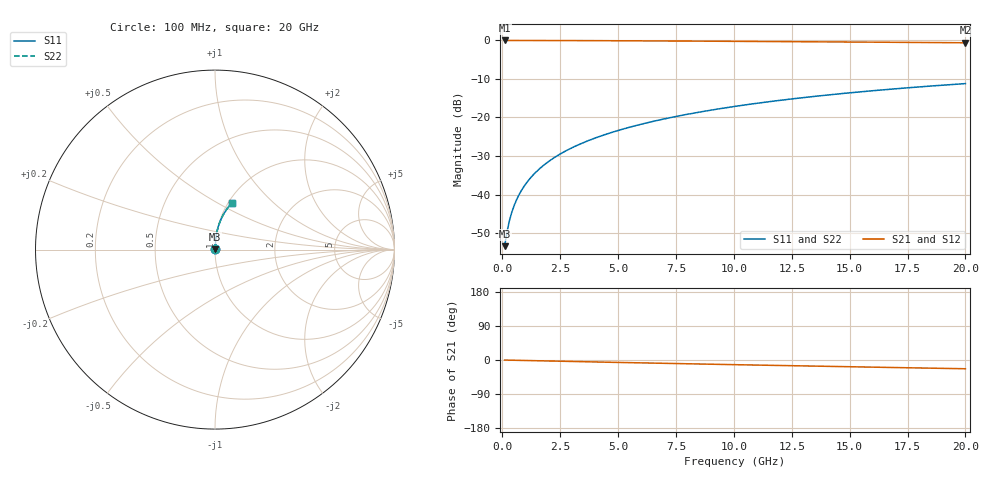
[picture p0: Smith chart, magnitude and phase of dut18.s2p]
! Touchstone file exported from HFSS 2024.1.0
!  File:  C:/UserFiles/LocalFiles/RDL_TSV_Batchsim/temp_RDL_top_18_1778680098.aedt
!  Generated:  09:50:49 PM May 13, 2026
!  Design:  RDL_top
!  Project:  temp_RDL_top_18_1778680098
!  Setup:  Setup1
!  Solution:  Sweep
! Variables:
!  dtsv = 10.80580581um
!  hbump = 3um
!  htsv = 82.72um
!  ldown = 100um
!  lrdl = 263.39um
!  p = 40
!  p1 = 55.38um
!  rhole = 1um
!  t = 450um
!  tdown = 3.915915916um
!  trdl = 3.69um
!  wdown = 15.38538539um
!  wrdl = 17.57um
# GHz S MA R 50.000000
! Terminal data exported
! Port[1] = Box2_T1
! Port[2] = Box2_T2
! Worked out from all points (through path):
!   200 points, 100 MHz to 20 GHz, reference 50 ohm
!   highest |S21| = -0.01 dB at 100 MHz (marker M1); lowest = -0.6 dB at 20 GHz (marker M2)
!   group delay of S21, straight-line fit = 3.19 ps
!   lowest |S11| = -53.4 dB at 100 MHz (marker M3), VSWR 1.00, Z = 50.2 + j0.141 ohm
!   |S11| at or under -10 dB: start of sweep to end of sweep
!   |S22| runs from -53.4 to -11.2 dB; largest |S21 - S12| = 3e-15
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0.1  0.00214 41.1  0.9984 -0.1  0.9984 -0.1  0.00214 41.1
! Gamma 0 0 0 0
! Port Impedance 50 0 50 0
0.2  0.003246 59.2  0.9983 -0.3  0.9983 -0.3  0.003246 59.2
0.3  0.004487 67.5  0.9983 -0.4  0.9983 -0.4  0.004487 67.5
0.4  0.005762 72.1  0.9982 -0.5  0.9982 -0.5  0.005762 72.1
0.5  0.007048 75.0  0.9981 -0.7  0.9981 -0.7  0.007048 75.0
0.6  0.008341 77.1  0.998 -0.8  0.998 -0.8  0.008341 77.1
0.8  0.01094 79.8  0.9979 -1.1  0.9979 -1.1  0.01094 79.8
1.1  0.01488 82.2  0.9977 -1.4  0.9977 -1.4  0.01488 82.2
1.5  0.02018 83.8  0.9973 -2.0  0.9973 -2.0  0.02018 83.8
1.8  0.02417 84.5  0.9969 -2.4  0.9969 -2.4  0.02417 84.5
2.1  0.02819 85.0  0.9965 -2.7  0.9965 -2.7  0.02819 85.0
2.7  0.03626 85.5  0.9955 -3.5  0.9955 -3.5  0.03626 85.5
3.5  0.04712 85.7  0.9938 -4.5  0.9938 -4.5  0.04713 85.7
4.2  0.05673 85.6  0.9921 -5.4  0.9921 -5.4  0.05673 85.6
5  0.06781 85.3  0.9899 -6.4  0.9899 -6.4  0.06781 85.3
5.9  0.08039 84.8  0.9872 -7.5  0.9872 -7.5  0.0804 84.8
6.8  0.09308 84.1  0.9843 -8.6  0.9843 -8.6  0.09309 84.2
8.3  0.1144 82.9  0.9791 -10.3  0.9791 -10.3  0.1144 82.9
10.1  0.1401 81.1  0.9725 -12.4  0.9725 -12.4  0.1401 81.2
13.4  0.1867 77.6  0.9597 -16.1  0.9597 -16.1  0.1867 77.6
16.7  0.2319 74.0  0.946 -19.6  0.946 -19.6  0.2319 74.0
20  0.2751 70.3  0.9315 -23.1  0.9315 -23.1  0.2752 70.4
